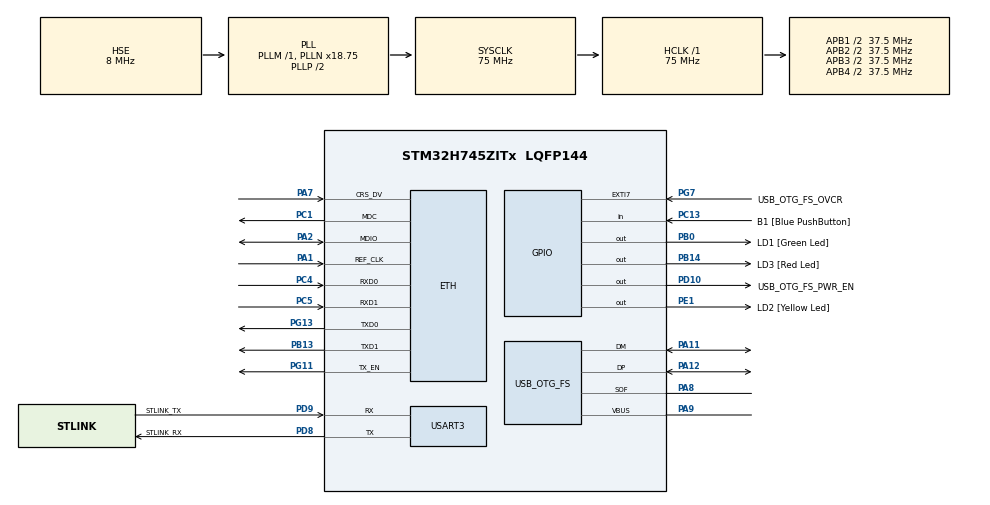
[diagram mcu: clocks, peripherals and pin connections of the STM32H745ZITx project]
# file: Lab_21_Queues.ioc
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CortexM4.IPs=FATFS_M4\:I,FREERTOS_M4\:I,IWDG2\:I,RCC,WWDG2\:I,DMA,BDMA,MDMA,NVIC2\:I,USART3,ETH,DEBUG,USB_DEVICE_M4\:I,USB_HOST_M4\:I,PDM2PCM_M4\:I,PWR,RESMGR_UTILITY,SYS_M4\:I,CORTEX_M4\:I,OPENAMP_M4\:I,VREFBUF,GPIO
CortexM7.IPs=FATFS_M7\:I,FREERTOS_M7\:I,IWDG1\:I,RCC\:I,WWDG1\:I,DMA\:I,BDMA\:I,MDMA\:I,NVIC1\:I,SYS\:I,USART3\:I,USB_OTG_FS\:I,ETH\:I,CORTEX_M7\:I,DEBUG\:I,USB_DEVICE_M7\:I,USB_HOST_M7\:I,PDM2PCM_M7\:I,PWR\:I,RESMGR_UTILITY\:I,OPENAMP_M7\:I,VREFBUF\:I,GPIO\:I,TIM4\:I
CortexM7.Pins=PB0,PB14
ETH.MediaInterface=HAL_ETH_RMII_MODE
FREERTOS_M7.Queues01=MessageQueue,1,uint16_t,0,Dynamic,NULL,NULL
FREERTOS_M7.Tasks01=defaultTask,24,128,StartDefaultTask,Default,NULL,Dynamic,NULL,NULL;MessageQueuePro,16,128,ProducerTask,Default,NULL,Dynamic,NULL,NULL;MessageQueueCon,24,128,ConsumerTask,Default,NULL,Dynamic,NULL,NULL
FREERTOS_M7.configUSE_NEWLIB_REENTRANT=1
Mcu.Family=STM32H7
Mcu.Name=STM32H745ZITx
Mcu.Package=LQFP144
NVIC1.PriorityGroup=NVIC_PRIORITYGROUP_4
NVIC1.TIM4_IRQn=true\:15\:0\:false\:false\:true\:false\:false\:true\:true
NVIC1.TimeBase=TIM4_IRQn
NVIC1.TimeBaseIP=TIM4
NVIC2.PriorityGroup=NVIC_PRIORITYGROUP_4
PA1.Mode=RMII
PA1.PinAttribute=CortexM7
PA1.Signal=ETH_REF_CLK
PA11.Mode=Device_Only
PA11.PinAttribute=CortexM7
PA11.Signal=USB_OTG_FS_DM
PA12.Mode=Device_Only
PA12.PinAttribute=CortexM7
PA12.Signal=USB_OTG_FS_DP
PA2.Mode=RMII
PA2.PinAttribute=CortexM7
PA2.Signal=ETH_MDIO
PA7.Mode=RMII
PA7.PinAttribute=CortexM7
PA7.Signal=ETH_CRS_DV
PA8.Mode=Activate_SOF_FS
PA8.PinAttribute=CortexM7
PA8.Signal=USB_OTG_FS_SOF
PA9.Mode=Activate_VBUS
PA9.PinAttribute=CortexM7
PA9.Signal=USB_OTG_FS_VBUS
PB0.GPIO_Label=LD1 [Green Led]
PB0.PinAttribute=CortexM7
PB0.Signal=GPIO_Output
PB13.Mode=RMII
PB13.PinAttribute=CortexM7
PB13.Signal=ETH_TXD1
PB14.GPIO_Label=LD3 [Red Led]
PB14.PinAttribute=CortexM7
PB14.Signal=GPIO_Output
PC1.Mode=RMII
PC1.PinAttribute=CortexM7
PC1.Signal=ETH_MDC
PC13.GPIO_Label=B1 [Blue PushButton]
PC13.PinAttribute=Free
PC13.Signal=GPIO_Input
PC14-OSC32_IN\ (OSC32_IN).Mode=LSE-External-Oscillator
PC14-OSC32_IN\ (OSC32_IN).PinAttribute=CortexM7
PC14-OSC32_IN\ (OSC32_IN).Signal=RCC_OSC32_IN
PC15-OSC32_OUT\ (OSC32_OUT).Mode=LSE-External-Oscillator
PC15-OSC32_OUT\ (OSC32_OUT).PinAttribute=CortexM7
PC15-OSC32_OUT\ (OSC32_OUT).Signal=RCC_OSC32_OUT
PC4.Mode=RMII
PC4.PinAttribute=CortexM7
PC4.Signal=ETH_RXD0
PC5.Mode=RMII
PC5.PinAttribute=CortexM7
PC5.Signal=ETH_RXD1
PD10.GPIO_Label=USB_OTG_FS_PWR_EN
PD10.PinAttribute=Free
PD10.Signal=GPIO_Output
PD8.GPIO_Label=STLINK_RX
PD8.Mode=Asynchronous
PD8.PinAttribute=CortexM7
PD8.Signal=USART3_TX
PD9.GPIO_Label=STLINK_TX
PD9.Mode=Asynchronous
PD9.PinAttribute=CortexM7
PD9.Signal=USART3_RX
PE1.GPIO_Label=LD2 [Yellow Led]
PE1.PinAttribute=Free
PE1.Signal=GPIO_Output
PG11.Mode=RMII
PG11.PinAttribute=CortexM7
PG11.Signal=ETH_TX_EN
PG13.Mode=RMII
PG13.PinAttribute=CortexM7
PG13.Signal=ETH_TXD0
PG7.GPIO_Label=USB_OTG_FS_OVCR
PG7.PinAttribute=Free
PG7.Signal=GPXTI7
PH0-OSC_IN\ (PH0).Mode=HSE-External-Clock-Source
PH0-OSC_IN\ (PH0).PinAttribute=CortexM7
PH0-OSC_IN\ (PH0).Signal=RCC_OSC_IN
PH1-OSC_OUT\ (PH1).PinAttribute=CortexM7
PH1-OSC_OUT\ (PH1).Signal=RCC_OSC_OUT
ProjectManager.HeapSize=M4-0x200,M7-0x200
ProjectManager.StackSize=M4-0x400,M7-0x400
ProjectManager.TargetToolchain=STM32CubeIDE
RCC.ADCFreq_Value=16125000
RCC.APB1Freq_Value=37500000
RCC.APB2Freq_Value=37500000
RCC.APB3Freq_Value=37500000
RCC.APB4Freq_Value=37500000
RCC.CortexFreq_Value=75000000
RCC.D1PPRE=RCC_APB3_DIV2
RCC.D2PPRE1=RCC_APB1_DIV2
RCC.D2PPRE2=RCC_APB2_DIV2
RCC.D3PPRE=RCC_APB4_DIV2
RCC.DIVM1=1
RCC.DIVM3=1
RCC.DIVN1=18
RCC.DIVN3=18
RCC.DIVQ3=3
RCC.HCLKFreq_Value=75000000
RCC.HSE_VALUE=8000000
RCC.PLL2FRACN=0
RCC.PLL3FRACN=6144
RCC.PLLFRACN=6144
RCC.SYSCLKFreq_VALUE=75000000
RCC.SYSCLKSource=RCC_SYSCLKSOURCE_PLLCLK
RCC.SupplySource=PWR_DIRECT_SMPS_SUPPLY
RCC.USBCLockSelection=RCC_USBCLKSOURCE_PLL3
RCC.USBFreq_Value=50000000
USART3.VirtualMode-Asynchronous=VM_ASYNC
USB_OTG_FS.VirtualMode=Device_Only
VP_FREERTOS_M7_VS_CMSIS_V2.Mode=CMSIS_V2
VP_SYS_M4_VS_Systick.Mode=SysTick
VP_SYS_VS_tim4.Mode=TIM4
board=NUCLEO-H745ZI-Q

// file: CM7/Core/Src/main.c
/* USER CODE BEGIN Header */
/**
  ******************************************************************************
  * @file           : main.c
  * @brief          : Main program body
  ******************************************************************************
  * @attention
  *
  * Copyright (c) 2025 STMicroelectronics.
  * All rights reserved.
  *
  * This software is licensed under terms that can be found in the LICENSE file
  * in the root directory of this software component.
  * If no LICENSE file comes with this software, it is provided AS-IS.
  *
  ******************************************************************************
  */
/* USER CODE END Header */
#include "main.h"
#include "string.h"
#include "cmsis_os.h"

/* USER CODE BEGIN PD */

#ifndef HSEM_ID_0
#define HSEM_ID_0 (0U) /* HW semaphore 0*/
#endif
/* USER CODE END PD */

#if defined ( __ICCARM__ ) /*!< IAR Compiler */
#pragma location=0x30000000
ETH_DMADescTypeDef  DMARxDscrTab[ETH_RX_DESC_CNT]; /* Ethernet Rx DMA Descriptors */
#pragma location=0x30000200
ETH_DMADescTypeDef  DMATxDscrTab[ETH_TX_DESC_CNT]; /* Ethernet Tx DMA Descriptors */

#elif defined ( __CC_ARM )  /* MDK ARM Compiler */

__attribute__((at(0x30000000))) ETH_DMADescTypeDef  DMARxDscrTab[ETH_RX_DESC_CNT]; /* Ethernet Rx DMA Descriptors */
__attribute__((at(0x30000200))) ETH_DMADescTypeDef  DMATxDscrTab[ETH_TX_DESC_CNT]; /* Ethernet Tx DMA Descriptors */

#elif defined ( __GNUC__ ) /* GNU Compiler */
ETH_DMADescTypeDef DMARxDscrTab[ETH_RX_DESC_CNT] __attribute__((section(".RxDecripSection"))); /* Ethernet Rx DMA Descriptors */
ETH_DMADescTypeDef DMATxDscrTab[ETH_TX_DESC_CNT] __attribute__((section(".TxDecripSection")));   /* Ethernet Tx DMA Descriptors */

#endif

ETH_TxPacketConfig TxConfig;

ETH_HandleTypeDef heth;

UART_HandleTypeDef huart3;

PCD_HandleTypeDef hpcd_USB_OTG_FS;

/* Definitions for defaultTask */
osThreadId_t defaultTaskHandle;
const osThreadAttr_t defaultTask_attributes = {
  .name = "defaultTask",
  .stack_size = 128 * 4,
  .priority = (osPriority_t) osPriorityNormal,
};
/* Definitions for MessageQueuePro */
osThreadId_t MessageQueueProHandle;
const osThreadAttr_t MessageQueuePro_attributes = {
  .name = "MessageQueuePro",
  .stack_size = 128 * 4,
  .priority = (osPriority_t) osPriorityBelowNormal,
};
/* Definitions for MessageQueueCon */
osThreadId_t MessageQueueConHandle;
const osThreadAttr_t MessageQueueCon_attributes = {
  .name = "MessageQueueCon",
  .stack_size = 128 * 4,
  .priority = (osPriority_t) osPriorityNormal,
};
/* Definitions for MessageQueue */
osMessageQueueId_t MessageQueueHandle;
const osMessageQueueAttr_t MessageQueue_attributes = {
  .name = "MessageQueue"
};
/* USER CODE BEGIN PV */
uint16_t ProducerValue = 0, ConsumerValue = 0;
__IO uint32_t ProducerErrors = 0, ConsumerErrors = 0;
/* USER CODE END PV */

void SystemClock_Config(void);
static void MX_GPIO_Init(void);
static void MX_ETH_Init(void);
static void MX_USART3_UART_Init(void);
static void MX_USB_OTG_FS_PCD_Init(void);
void StartDefaultTask(void *argument);
void ProducerTask(void *argument);
void ConsumerTask(void *argument);

int main(void)
{
/* USER CODE BEGIN Boot_Mode_Sequence_0 */
  int32_t timeout;
/* USER CODE END Boot_Mode_Sequence_0 */

/* USER CODE BEGIN Boot_Mode_Sequence_1 */
  /* Wait until CPU2 boots and enters in stop mode or timeout*/
  timeout = 0xFFFF;
  while((__HAL_RCC_GET_FLAG(RCC_FLAG_D2CKRDY) != RESET) && (timeout-- > 0));
  if ( timeout < 0 )
  {
  Error_Handler();
  }
/* USER CODE END Boot_Mode_Sequence_1 */
  /* MCU Configuration--------------------------------------------------------*/

  /* Reset of all peripherals, Initializes the Flash interface and the Systick. */
  HAL_Init();

  /* Configure the system clock */
  SystemClock_Config();
/* USER CODE BEGIN Boot_Mode_Sequence_2 */
/* When system initialization is finished, Cortex-M7 will release Cortex-M4 by means of
HSEM notification */
/*HW semaphore Clock enable*/
__HAL_RCC_HSEM_CLK_ENABLE();
/*Take HSEM */
HAL_HSEM_FastTake(HSEM_ID_0);
/*Release HSEM in order to notify the CPU2(CM4)*/
HAL_HSEM_Release(HSEM_ID_0,0);
/* wait until CPU2 wakes up from stop mode */
timeout = 0xFFFF;
while((__HAL_RCC_GET_FLAG(RCC_FLAG_D2CKRDY) == RESET) && (timeout-- > 0));
if ( timeout < 0 )
{
Error_Handler();
}
/* USER CODE END Boot_Mode_Sequence_2 */

  /* Initialize all configured peripherals */
  MX_GPIO_Init();
  MX_ETH_Init();
  MX_USART3_UART_Init();
  MX_USB_OTG_FS_PCD_Init();

  /* Init scheduler */
  osKernelInitialize();

  /* Create the queue(s) */
  /* creation of MessageQueue */
  MessageQueueHandle = osMessageQueueNew (1, sizeof(uint16_t), &MessageQueue_attributes);

  /* Create the thread(s) */
  /* creation of defaultTask */
  defaultTaskHandle = osThreadNew(StartDefaultTask, NULL, &defaultTask_attributes);

  /* creation of MessageQueuePro */
  MessageQueueProHandle = osThreadNew(ProducerTask, NULL, &MessageQueuePro_attributes);

  /* creation of MessageQueueCon */
  MessageQueueConHandle = osThreadNew(ConsumerTask, NULL, &MessageQueueCon_attributes);

  /* Start scheduler */
  osKernelStart();

  /* We should never get here as control is now taken by the scheduler */
  /* Infinite loop */
  while (1)
  {

  }
}

void SystemClock_Config(void)
{
  RCC_OscInitTypeDef RCC_OscInitStruct = {0};
  RCC_ClkInitTypeDef RCC_ClkInitStruct = {0};

  /** Supply configuration update enable
  */
  HAL_PWREx_ConfigSupply(PWR_DIRECT_SMPS_SUPPLY);

  /** Configure the main internal regulator output voltage
  */
  __HAL_PWR_VOLTAGESCALING_CONFIG(PWR_REGULATOR_VOLTAGE_SCALE3);

  while(!__HAL_PWR_GET_FLAG(PWR_FLAG_VOSRDY)) {}

  /** Macro to configure the PLL clock source
  */
  __HAL_RCC_PLL_PLLSOURCE_CONFIG(RCC_PLLSOURCE_HSE);

  /** Initializes the RCC Oscillators according to the specified parameters
  * in the RCC_OscInitTypeDef structure.
  */
  RCC_OscInitStruct.OscillatorType = RCC_OSCILLATORTYPE_HSE;
  RCC_OscInitStruct.HSEState = RCC_HSE_BYPASS;
  RCC_OscInitStruct.PLL.PLLState = RCC_PLL_ON;
  RCC_OscInitStruct.PLL.PLLSource = RCC_PLLSOURCE_HSE;
  RCC_OscInitStruct.PLL.PLLM = 1;
  RCC_OscInitStruct.PLL.PLLN = 18;
  RCC_OscInitStruct.PLL.PLLP = 2;
  RCC_OscInitStruct.PLL.PLLQ = 2;
  RCC_OscInitStruct.PLL.PLLR = 2;
  RCC_OscInitStruct.PLL.PLLRGE = RCC_PLL1VCIRANGE_3;
  RCC_OscInitStruct.PLL.PLLVCOSEL = RCC_PLL1VCOMEDIUM;
  RCC_OscInitStruct.PLL.PLLFRACN = 6144;
  if (HAL_RCC_OscConfig(&RCC_OscInitStruct) != HAL_OK)
  {
    Error_Handler();
  }

  /** Initializes the CPU, AHB and APB buses clocks
  */
  RCC_ClkInitStruct.ClockType = RCC_CLOCKTYPE_HCLK|RCC_CLOCKTYPE_SYSCLK
                              |RCC_CLOCKTYPE_PCLK1|RCC_CLOCKTYPE_PCLK2
                              |RCC_CLOCKTYPE_D3PCLK1|RCC_CLOCKTYPE_D1PCLK1;
  RCC_ClkInitStruct.SYSCLKSource = RCC_SYSCLKSOURCE_PLLCLK;
  RCC_ClkInitStruct.SYSCLKDivider = RCC_SYSCLK_DIV1;
  RCC_ClkInitStruct.AHBCLKDivider = RCC_HCLK_DIV1;
  RCC_ClkInitStruct.APB3CLKDivider = RCC_APB3_DIV2;
  RCC_ClkInitStruct.APB1CLKDivider = RCC_APB1_DIV2;
  RCC_ClkInitStruct.APB2CLKDivider = RCC_APB2_DIV2;
  RCC_ClkInitStruct.APB4CLKDivider = RCC_APB4_DIV2;

  if (HAL_RCC_ClockConfig(&RCC_ClkInitStruct, FLASH_LATENCY_1) != HAL_OK)
  {
    Error_Handler();
  }
}

static void MX_ETH_Init(void)
{

   static uint8_t MACAddr[6];

  heth.Instance = ETH;
  MACAddr[0] = 0x00;
  MACAddr[1] = 0x80;
  MACAddr[2] = 0xE1;
  MACAddr[3] = 0x00;
  MACAddr[4] = 0x00;
  MACAddr[5] = 0x00;
  heth.Init.MACAddr = &MACAddr[0];
  heth.Init.MediaInterface = HAL_ETH_RMII_MODE;
  heth.Init.TxDesc = DMATxDscrTab;
  heth.Init.RxDesc = DMARxDscrTab;
  heth.Init.RxBuffLen = 1524;

  if (HAL_ETH_Init(&heth) != HAL_OK)
  {
    Error_Handler();
  }

  memset(&TxConfig, 0 , sizeof(ETH_TxPacketConfig));
  TxConfig.Attributes = ETH_TX_PACKETS_FEATURES_CSUM | ETH_TX_PACKETS_FEATURES_CRCPAD;
  TxConfig.ChecksumCtrl = ETH_CHECKSUM_IPHDR_PAYLOAD_INSERT_PHDR_CALC;
  TxConfig.CRCPadCtrl = ETH_CRC_PAD_INSERT;

}

static void MX_USART3_UART_Init(void)
{

  huart3.Instance = USART3;
  huart3.Init.BaudRate = 115200;
  huart3.Init.WordLength = UART_WORDLENGTH_8B;
  huart3.Init.StopBits = UART_STOPBITS_1;
  huart3.Init.Parity = UART_PARITY_NONE;
  huart3.Init.Mode = UART_MODE_TX_RX;
  huart3.Init.HwFlowCtl = UART_HWCONTROL_NONE;
  huart3.Init.OverSampling = UART_OVERSAMPLING_16;
  huart3.Init.OneBitSampling = UART_ONE_BIT_SAMPLE_DISABLE;
  huart3.Init.ClockPrescaler = UART_PRESCALER_DIV1;
  huart3.AdvancedInit.AdvFeatureInit = UART_ADVFEATURE_NO_INIT;
  if (HAL_UART_Init(&huart3) != HAL_OK)
  {
    Error_Handler();
  }
  if (HAL_UARTEx_SetTxFifoThreshold(&huart3, UART_TXFIFO_THRESHOLD_1_8) != HAL_OK)
  {
    Error_Handler();
  }
  if (HAL_UARTEx_SetRxFifoThreshold(&huart3, UART_RXFIFO_THRESHOLD_1_8) != HAL_OK)
  {
    Error_Handler();
  }
  if (HAL_UARTEx_DisableFifoMode(&huart3) != HAL_OK)
  {
    Error_Handler();
  }

}

static void MX_USB_OTG_FS_PCD_Init(void)
{

  hpcd_USB_OTG_FS.Instance = USB_OTG_FS;
  hpcd_USB_OTG_FS.Init.dev_endpoints = 9;
  hpcd_USB_OTG_FS.Init.speed = PCD_SPEED_FULL;
  hpcd_USB_OTG_FS.Init.dma_enable = DISABLE;
  hpcd_USB_OTG_FS.Init.phy_itface = PCD_PHY_EMBEDDED;
  hpcd_USB_OTG_FS.Init.Sof_enable = DISABLE;
  hpcd_USB_OTG_FS.Init.low_power_enable = DISABLE;
  hpcd_USB_OTG_FS.Init.lpm_enable = DISABLE;
  hpcd_USB_OTG_FS.Init.battery_charging_enable = ENABLE;
  hpcd_USB_OTG_FS.Init.vbus_sensing_enable = ENABLE;
  hpcd_USB_OTG_FS.Init.use_dedicated_ep1 = DISABLE;
  if (HAL_PCD_Init(&hpcd_USB_OTG_FS) != HAL_OK)
  {
    Error_Handler();
  }

}

static void MX_GPIO_Init(void)
{
  GPIO_InitTypeDef GPIO_InitStruct = {0};

  /* GPIO Ports Clock Enable */
  __HAL_RCC_GPIOC_CLK_ENABLE();
  __HAL_RCC_GPIOH_CLK_ENABLE();
  __HAL_RCC_GPIOA_CLK_ENABLE();
  __HAL_RCC_GPIOB_CLK_ENABLE();
  __HAL_RCC_GPIOD_CLK_ENABLE();
  __HAL_RCC_GPIOG_CLK_ENABLE();

  /*Configure GPIO pin Output Level */
  HAL_GPIO_WritePin(GPIOB, LD1_Pin|LD3_Pin, GPIO_PIN_RESET);

  /*Configure GPIO pins : LD1_Pin LD3_Pin */
  GPIO_InitStruct.Pin = LD1_Pin|LD3_Pin;
  GPIO_InitStruct.Mode = GPIO_MODE_OUTPUT_PP;
  GPIO_InitStruct.Pull = GPIO_NOPULL;
  GPIO_InitStruct.Speed = GPIO_SPEED_FREQ_LOW;
  HAL_GPIO_Init(GPIOB, &GPIO_InitStruct);

}

void StartDefaultTask(void *argument)
{
  for(;;)
  {
    osDelay(1);
  }
}

void ProducerTask(void *argument)
{
  /* USER CODE BEGIN 5 */
  (void) argument;

  /* Infinite loop */
  for(;;)
  {
    if (osMessageQueuePut(MessageQueueHandle, &ProducerValue, 100, 0U) != osOK)
    {
      ++ProducerErrors;

      /* Toggle LED3 to indicate error  */
      HAL_GPIO_TogglePin(LD3_GPIO_Port, LD3_Pin);
    }
    else
    {
      /* Increment the variable we are going to post next time round.  The
      consumer will expect the numbers to follow in numerical order */
      ++ProducerValue;
      if( (ProducerErrors == 0) && (ConsumerErrors == 0) )
      {
      /* Toggle LED1 to indicate a correct number received */
        HAL_GPIO_TogglePin(LD1_GPIO_Port, LD1_Pin);
        osDelay(1000);
      }
    }
  }
  /* USER CODE END 5 */
}

void ConsumerTask(void *argument)
{
  /* USER CODE BEGIN ConsumerTask */
  (void) argument;
  osStatus_t status;
  uint16_t osQueueMsg;

  /* Infinite loop */
  for(;;)
  {
    /* Get the message from the queue */
    status = osMessageQueueGet(MessageQueueHandle, &osQueueMsg, NULL, 100);

    if (status == osOK)
    {
      if (osQueueMsg != ConsumerValue)
      {
        /* Catch-up */
        ConsumerValue = osQueueMsg;
        ++ConsumerErrors;

        /* Toggle LED3 to indicate error */
        HAL_GPIO_TogglePin(LD3_GPIO_Port, LD3_Pin);
      }
      else
      {
        /* Increment the value we expect to remove from the queue next time
        round */
        ++ConsumerValue;
      }
    }
  }
  /* USER CODE END ConsumerTask */
}

void HAL_TIM_PeriodElapsedCallback(TIM_HandleTypeDef *htim)
{
  if (htim->Instance == TIM4) {
    HAL_IncTick();
  }
}

void Error_Handler(void)
{
  __disable_irq();
  while (1)
  {
  }
}
